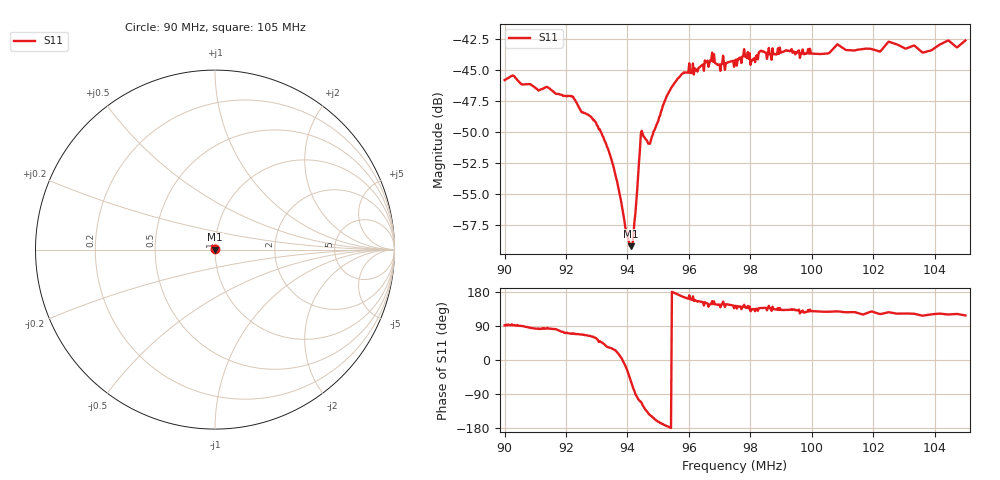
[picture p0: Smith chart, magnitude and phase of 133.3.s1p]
# HZ S RI R 50
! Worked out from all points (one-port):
!   505 points, 90 MHz to 105 MHz, reference 50 ohm
!   lowest |S11| = -59.2 dB at 94.11 MHz (marker M1), VSWR 1.00, Z = 50.1 - j0.0901 ohm
!   |S11| at or under -10 dB: start of sweep to end of sweep
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9e7  -0.000118 0.00514
9.026786e7  -0.000146 0.00536
9.187501e7  0.00121 0.0043
9.223215e7  0.00157 0.00411
9.29762e7  0.00184 0.00293
9.342263e7  0.00217 0.0014
9.375001e7  0.00173 0.00034
9.398811e7  0.0011 -0.000548
9.410716e7  0.000628 -0.0009
9.42262e7  0.000201 -0.00136
9.440478e7  -0.00086 -0.00254
9.44643e7  -0.00131 -0.00293
9.473216e7  -0.00234 -0.00162
9.526787e7  -0.00438 -0.000485
9.562502e7  -0.00516 0.00059
9.675597e7  -0.00603 0.00276
9.696431e7  -0.00494 0.00329
9.750002e7  -0.00493 0.00371
9.785717e7  -0.00472 0.00425
9.80655e7  -0.0043 0.00445
9.836312e7  -0.00497 0.00457
9.937503e7  -0.00444 0.00491
1.0125e8  -0.00401 0.00547
1.022024e8  -0.0035 0.00571
1.025298e8  -0.00428 0.00595
1.03125e8  -0.00374 0.00583
1.036608e8  -0.00307 0.0059
1.05e8  -0.00344 0.00658
